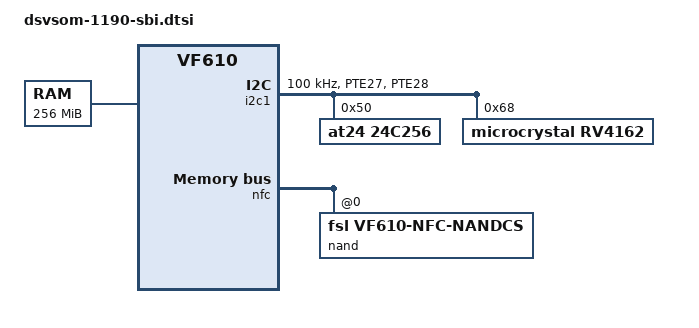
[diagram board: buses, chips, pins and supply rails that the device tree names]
/*
 * Copyright 2015 DataSoft Corporation
 *
 * This program is free software; you can redistribute it and/or modify
 * it under the terms of the GNU General Public License as published by
 * the Free Software Foundation; either version 2 of the License, or
 * (at your option) any later version.
 */

#include "vf610.dtsi"

/ {
	compatible = "ds,dsvsom", "fsl,vf610-twr", "fsl,vf610";

	memory {
		reg = <0x80000000 0x10000000>;
	};
};

&snvs0 {
	status = "disabled";
};

&L2 {
	status = "disabled";
};

&edma0 {
	status = "okay";
};

&iomuxc {
	dsvsom-1190 {

		pinctrl_eeprom: eepromgrp {
			fsl,pins = <
				VF610_PAD_PTB3__GPIO_25			0x0182 /* GPIO_EEP_WP */
			>;
		};

		pinctrl_i2c1: i2c1grp {
			fsl,pins = <
				VF610_PAD_PTE27__I2C1_SCL		0x05ef
				VF610_PAD_PTE28__I2C1_SDA		0x05ef
			>;
		};
	};
};

&i2c1 {
	clock-frequency = <100000>;
	pinctrl-names = "default";
	pinctrl-0 = <&pinctrl_i2c1>;
	status = "okay";

	at24@50 {
		compatible = "at24,24c256";
		pagesize = <64>;
		reg = <0x50>;
		pinctrl-names = "default";
		pinctrl-0 = <&pinctrl_eeprom>;
	};

	rv4162@68 {
		compatible = "microcrystal,rv4162";
		reg = <0x68>;
	};
};

&nfc {
	clock-frequency = <33000000>;
	status = "okay";

	nand@0 {
		compatible = "fsl,vf610-nfc-nandcs";
		reg = <0>;
		#address-cells = <1>;
		#size-cells = <1>;
		nand-bus-width = <8>;
		nand-ecc-mode = "hw";
		nand-ecc-strength = <32>;
		nand-ecc-step-size = <2048>;
		nand-on-flash-bbt;
	};
};

